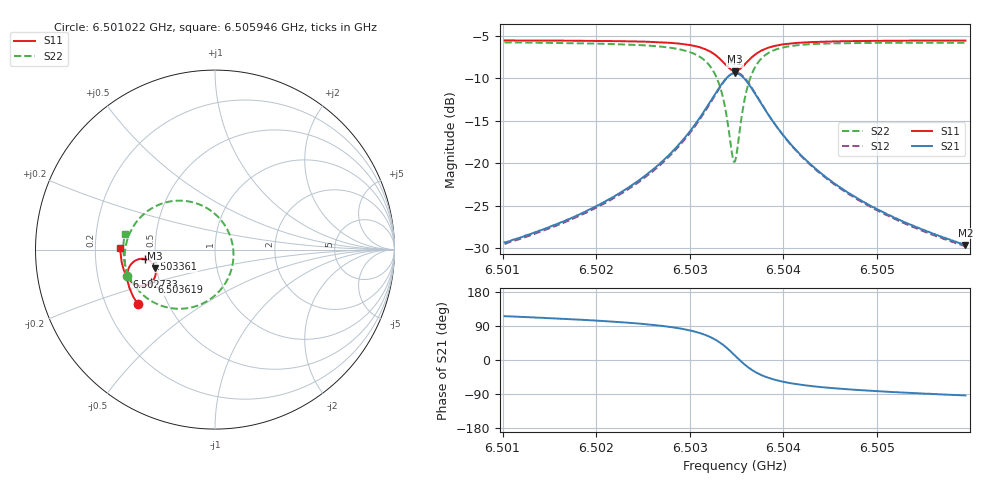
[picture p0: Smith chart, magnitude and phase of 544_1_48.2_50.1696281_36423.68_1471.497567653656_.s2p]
#  HZ  S  RI  R  50.00
! Rohde & Schwarz Vector Network Analyzer
! Rohde-Schwarz,ZNB20-2Port,1311601062101988,3.16
! Created: UTC 3/20/2024, 12:00:30 PM
! freq[Hz]  re:S11  im:S11  re:S21  im:S21  re:S12  im:S12  re:S22  im:S22
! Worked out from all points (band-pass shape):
!   401 points, 6.501022 GHz to 6.505946 GHz, reference 50 ohm
!   highest |S21| = -9.41 dB at 6.503484 GHz (marker M1); lowest = -29.6 dB at 6.505946 GHz (marker M2)
!   |S21| within 3 dB of the highest: 6.503239 GHz to 6.503732 GHz (492.5 kHz wide, 0.00757 % of centre)
!   lowest |S11| = -9.1 dB at 6.503484 GHz (marker M3), VSWR 2.07, Z = 24.6 - j5.78 ohm
!   |S11| at or under -10 dB: nowhere
!   |S22| runs from -19.8 to -5.8 dB; largest |S21 - S12| = 0.011
!   S11 on the Smith chart (normalised r, x): 6.501022 GHz: 0.34, -0.29; 6.502733 GHz: 0.33, -0.14; 6.503361 GHz: 0.44, -0.06; 6.503619 GHz: 0.45, -0.19; 6.505946 GHz: 0.31, +0.01
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6.5010215e9  -0.4293 -0.3056  -0.0148 0.0309  -0.0132 0.0309  -0.4912 -0.1491
6.5018463e9  -0.4644 -0.2442  -0.014 0.0488  -0.0118 0.0485  -0.5034 -0.0605
6.5023141e9  -0.4805 -0.202  -0.0109 0.0694  -0.00794 0.0682  -0.4994 0.00754
6.5026711e9  -0.4887 -0.1618  -0.00163 0.0984  0.00185 0.0963  -0.4795 0.0808
6.5027327e9  -0.4892 -0.1536  0.00144 0.1057  0.00504 0.1032  -0.4724 0.0968
6.5029543e9  -0.4856 -0.1185  0.0234 0.141  0.0269 0.1369  -0.4268 0.1675
6.5031143e9  -0.4714 -0.0864  0.0624 0.177  0.065 0.1714  -0.3511 0.2309
6.503262e9  -0.4339 -0.0565  0.1432 0.2059  0.1438 0.2002  -0.2036 0.2727
6.5033605e9  -0.3877 -0.0531  0.2344 0.1903  0.2342 0.1861  -0.0461 0.2318
6.5034467e9  -0.3446 -0.0815  0.313 0.117  0.3156 0.1133  0.0801 0.0873
6.5034713e9  -0.3363 -0.0956  0.327 0.0853  0.3302 0.0811  0.0981 0.0276
6.5034836e9  -0.3333 -0.1033  0.3314 0.0686  0.3351 0.0638  0.1022 -0.00369
6.5035083e9  -0.3301 -0.1196  0.3353 0.0339  0.3395 0.0279  0.1006 -0.0669
6.5035452e9  -0.3318 -0.1437  0.3286 -0.0164  0.3324 -0.0247  0.0746 -0.1564
6.503619e9  -0.3538 -0.1812  0.2825 -0.0936  0.283 -0.1046  -0.0344 -0.2812
6.5037298e9  -0.3995 -0.2019  0.1956 -0.1399  0.1907 -0.1495  -0.2109 -0.3296
6.5038899e9  -0.4469 -0.1925  0.1112 -0.1364  0.1043 -0.1415  -0.3628 -0.2816
6.5040622e9  -0.4749 -0.1712  0.0653 -0.1154  0.0591 -0.1177  -0.4368 -0.215
6.5043084e9  -0.496 -0.1412  0.0346 -0.0904  0.0299 -0.0907  -0.4811 -0.1415
6.5046778e9  -0.5118 -0.1022  0.0153 -0.0662  0.012 -0.066  -0.5042 -0.0659
6.5051333e9  -0.5213 -0.0596  0.00517 -0.0493  0.00293 -0.0485  -0.5106 -5.75e-05
6.5059457e9  -0.5265 0.00956  -0.00206 -0.0331  -0.00336 -0.0324  -0.503 0.0873
